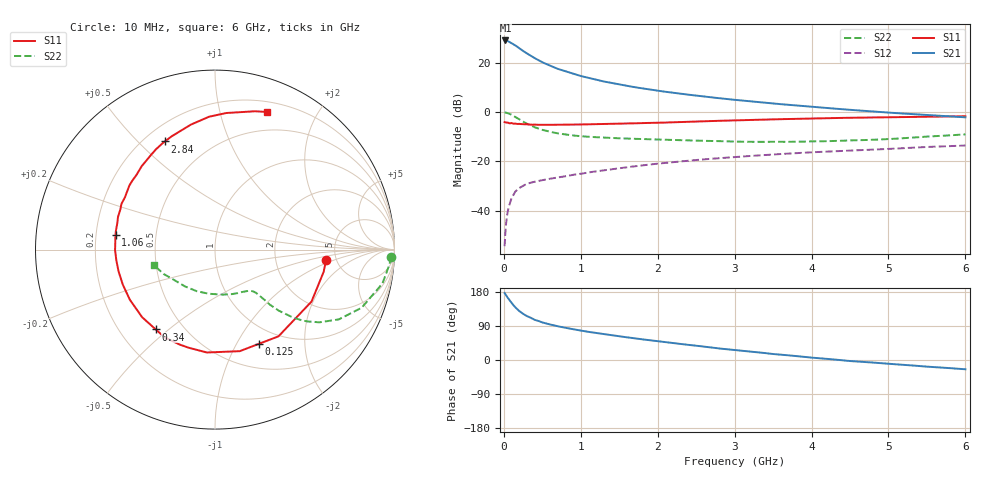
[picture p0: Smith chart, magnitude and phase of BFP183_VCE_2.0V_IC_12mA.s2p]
! Infineon Technologies  Discrete & RF Semiconductors
! BFP183
! VCE = 2.0 V,  IC =  12 mA
! Common Emitter S-Parameters:  Jan 2016
# GHz  S  MA  R  50
!  f  S11  S21  S12  S22
! GHz  MAG  ANG  MAG  ANG  MAG  ANG  MAG  ANG
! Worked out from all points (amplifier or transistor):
!   210 points, 10 MHz to 6 GHz, reference 50 ohm
!   highest |S21| = 29.0 dB at 20 MHz (marker M1)
!   |S21| within 3 dB of that: start of sweep to 194.7 MHz
!   unconditionally stable (mu >= 1): 997.3 MHz to 5.567 GHz
!   at 185 MHz: K = 0.29, MSG = 28.7 dB, |S12| = -31.2 dB
!   at 1.52 GHz: K = 1.13, MAG = 14.7 dB, |S12| = -22.7 dB
!   at 6 GHz: K = 0.95, MSG = 5.7 dB, |S12| = -13.6 dB
!   S11 on the Smith chart (normalised r, x): 10 MHz: 4.12, -0.80; 125 MHz: 0.79, -1.24; 340 MHz: 0.35, -0.45; 1.06 GHz: 0.28, +0.07; 2.84 GHz: 0.28, +0.60; 6 GHz: 0.30, +1.40
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0.01  0.6215 -5.5  27.98 176.9  0.0019 85.0  0.9799 -2.3
0.02  0.6179 -11.6  28.17 173.9  0.0036 79.0  0.9765 -4.7
0.055  0.6043 -30.7  27.13 163.0  0.0103 76.6  0.9432 -12.4
0.1  0.5989 -53.8  24.93 150.5  0.0177 67.1  0.8792 -21.6
0.125  0.5793 -64.9  23.5 144.9  0.021 62.4  0.8336 -25.3
0.15  0.5824 -76.3  22.33 138.6  0.0244 59.0  0.7919 -29.4
0.2  0.5751 -94.5  19.7 129.1  0.0287 53.7  0.7085 -34.9
0.24  0.566 -105.2  17.73 123.3  0.0311 50.3  0.6515 -37.9
0.3  0.5639 -119.8  15.36 115.8  0.035 47.5  0.5777 -41.0
0.34  0.5538 -126.6  14.1 112.4  0.0364 46.1  0.5427 -42.0
0.4  0.5539 -137.1  12.33 106.1  0.0385 44.2  0.4905 -43.8
0.5  0.5505 -149.5  10.15 99.2  0.0414 42.9  0.4339 -45.1
0.6  0.5495 -159.3  8.694 93.7  0.0443 43.0  0.3952 -45.4
1.02  0.5587 173.5  5.269 77.0  0.0565 45.1  0.3203 -47.2
1.06  0.56 171.6  5.087 75.6  0.058 45.4  0.3172 -47.5
1.5  0.5802 153.9  3.614 62.5  0.0724 46.2  0.2927 -52.0
2.02  0.6042 136.2  2.666 49.0  0.09 45.1  0.2762 -60.7
2.84  0.6642 114.9  1.872 29.6  0.117 40.3  0.2553 -79.6
3.1  0.6806 108.9  1.703 24.4  0.125 38.5  0.2494 -86.7
4.1  0.7445 91.1  1.239 4.7  0.1546 30.9  0.2539 -116.9
5.1  0.784 78.1  0.948 -11.4  0.1812 24.1  0.2875 -145.1
6  0.82 69.3  0.779 -24.5  0.2086 16.0  0.3513 -165.7
